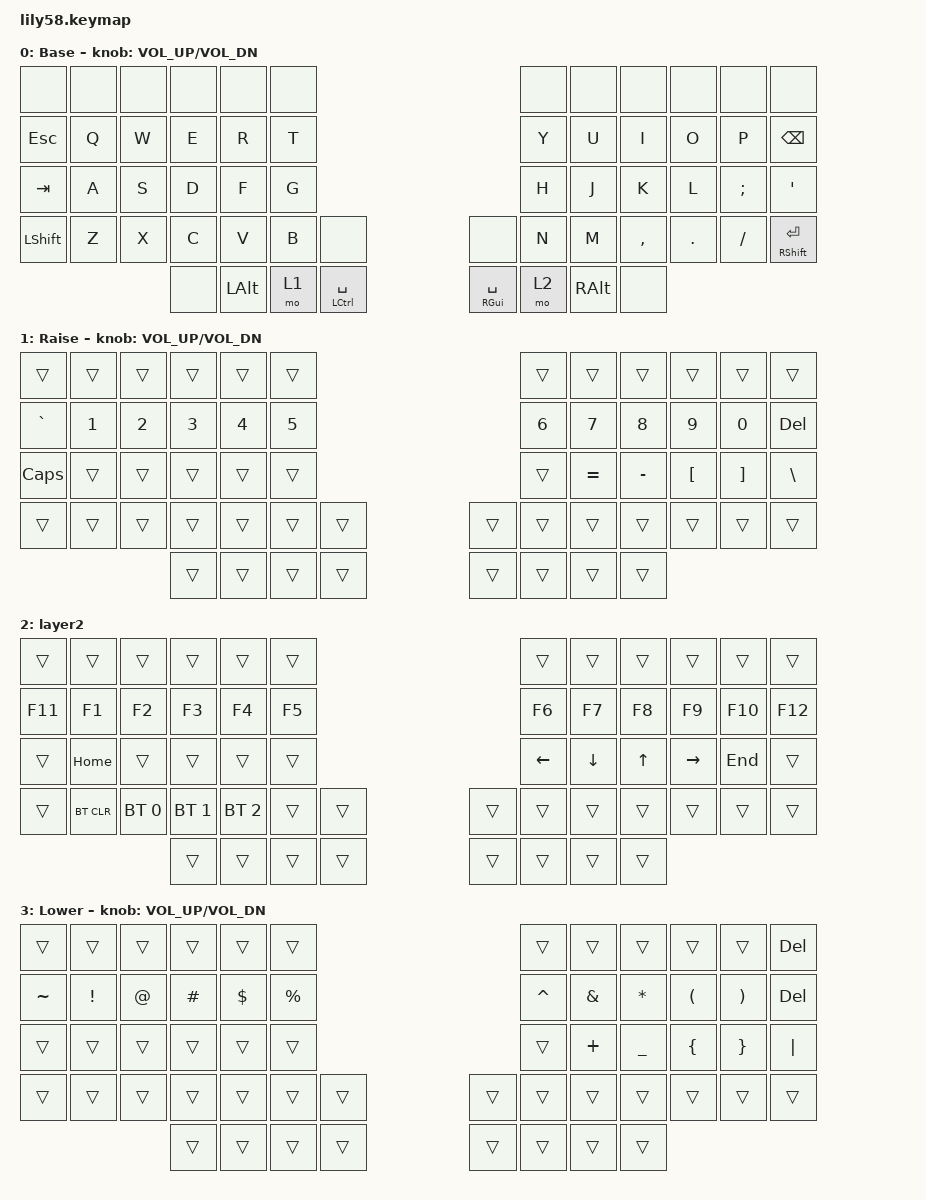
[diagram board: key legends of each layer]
/*
 * Copyright (c) 2020 The ZMK Contributors
 *
 * SPDX-License-Identifier: MIT
 */

#include <behaviors.dtsi>
#include <dt-bindings/zmk/bt.h>
#include <dt-bindings/zmk/keys.h>

/ {
    keymap {
        compatible = "zmk,keymap";

        default_layer {
            // ------------------------------------------------------------------------------------------------------------
            // |  ESC  |  1  |  2  |  3   |  4   |  5   |                   |  6   |  7    |  8    |  9   |   0   |   `   |
            // |  TAB  |  Q  |  W  |  E   |  R   |  T   |                   |  Y   |  U    |  I    |  O   |   P   |   -   |
            // |  CTRL |  A  |  S  |  D   |  F   |  G   |                   |  H   |  J    |  K    |  L   |   ;   |   '   |
            // | SHIFT |  Z  |  X  |  C   |  V   |  B   |   "["  |  |  "]"  |  N   |  M    |  ,    |  .   |   /   | SHIFT |
            //                     | ALT  | GUI  | LOWER|  SPACE |  | ENTER | RAISE| BSPC  | GUI   |

            display-name = "Base";
            bindings = <
&none           &none  &none  &none  &none         &none                                                 &none  &none          &none      &none    &none     &none
&kp ESCAPE      &kp Q  &kp W  &kp E  &kp R         &kp T                                                 &kp Y  &kp U          &kp I      &kp O    &kp P     &kp BACKSPACE
&kp TAB         &kp A  &kp S  &kp D  &kp F         &kp G                                                 &kp H  &kp J          &kp K      &kp L    &kp SEMI  &kp SQT
&kp LEFT_SHIFT  &kp Z  &kp X  &kp C  &kp V         &kp B  &none                     &none                &kp N  &kp M          &kp COMMA  &kp DOT  &kp FSLH  &mt RSHFT ENTER
                              &none  &kp LEFT_ALT  &mo 1  &mt LEFT_CONTROL SPACE    &mt RIGHT_GUI SPACE  &mo 2  &kp RIGHT_ALT  &none
            >;

            sensor-bindings = <&inc_dec_kp C_VOL_UP C_VOL_DN>;
        };

        layer1 {
            // ------------------------------------------------------------------------------------------------------------
            // |       |     |     |      |      |      |                   |      |       |       |      |       |       |
            // |   `   |  1  |  2  |  3   |  4   |  5   |                   |  6   |   7   |   8   |  9   |   0   |       |
            // |   F1  |  F2 |  F3 |  F4  |  F5  |  F6  |                   |      |   <-  |   v   |  ^   |  ->   |       |
            // |   F7  |  F8 |  F9 |  F10 |  F11 |  F12 |        |  |       |  +   |   -   |   =   |  [   |   ]   |   \   |
            //                     |      |      |      |        |  |       |      |       |       |

            display-name = "Raise";
            bindings = <
&trans     &trans  &trans  &trans  &trans  &trans                    &trans  &trans     &trans     &trans            &trans             &trans
&kp GRAVE  &kp N1  &kp N2  &kp N3  &kp N4  &kp N5                    &kp N6  &kp N7     &kp N8     &kp N9            &kp N0             &kp DEL
&kp CAPS   &trans  &trans  &trans  &trans  &trans                    &trans  &kp EQUAL  &kp MINUS  &kp LEFT_BRACKET  &kp RIGHT_BRACKET  &kp BACKSLASH
&trans     &trans  &trans  &trans  &trans  &trans  &trans    &trans  &trans  &trans     &trans     &trans            &trans             &trans
                           &trans  &trans  &trans  &trans    &trans  &trans  &trans     &trans
            >;

            sensor-bindings = <&inc_dec_kp C_VOL_UP C_VOL_DN>;
        };

        layer2 {
            bindings = <
&trans   &trans      &trans        &trans        &trans        &trans                    &trans          &trans          &trans        &trans           &trans   &trans
&kp F11  &kp F1      &kp F2        &kp F3        &kp F4        &kp F5                    &kp F6          &kp F7          &kp F8        &kp F9           &kp F10  &kp F12
&trans   &kp HOME    &trans        &trans        &trans        &trans                    &kp LEFT_ARROW  &kp DOWN_ARROW  &kp UP_ARROW  &kp RIGHT_ARROW  &kp END  &trans
&trans   &bt BT_CLR  &bt BT_SEL 0  &bt BT_SEL 1  &bt BT_SEL 2  &trans  &trans    &trans  &trans          &trans          &trans        &trans           &trans   &trans
                                   &trans        &trans        &trans  &trans    &trans  &trans          &trans          &trans
            >;
        };

        layer3 {
            // ------------------------------------------------------------------------------------------------------------
            // | BTCLR | BT1 | BT2 |  BT3 |  BT4 |  BT5 |                   |      |       |       |      |       |       |
            // |  F1   |  F2 |  F3 |  F4  |  F5  |  F6  |                   |  F7  |  F8   |  F9   |  F10 |  F11  |  F12  |
            // |   `   |  !  |  @  |  #   |  $   |  %   |                   |  ^   |  &    |  *    |  (   |   )   |   ~   |
            // |       |     |     |      |      |      |        |  |       |      |  _    |  +    |  {   |   }   |  "|"  |
            //                     |      |      |      |        |  |       |      |       |       |

            display-name = "Lower";
            bindings = <
&trans     &trans           &trans       &trans    &trans      &trans                         &trans     &trans         &trans          &trans                &trans                 &kp DELETE
&kp TILDE  &kp EXCLAMATION  &kp AT_SIGN  &kp HASH  &kp DOLLAR  &kp PERCENT                    &kp CARET  &kp AMPERSAND  &kp ASTERISK    &kp LEFT_PARENTHESIS  &kp RIGHT_PARENTHESIS  &kp DELETE
&trans     &trans           &trans       &trans    &trans      &trans                         &trans     &kp PLUS       &kp UNDERSCORE  &kp LEFT_BRACE        &kp RIGHT_BRACE        &kp PIPE
&trans     &trans           &trans       &trans    &trans      &trans       &trans    &trans  &trans     &trans         &trans          &trans                &trans                 &trans
                                         &trans    &trans      &trans       &trans    &trans  &trans     &trans         &trans
            >;

            sensor-bindings = <&inc_dec_kp C_VOL_UP C_VOL_DN>;
        };
    };

    conditional_layers {
        compatible = "zmk,conditional-layers";

        shift {
            if-layers = <2 1>;
            then-layer = <3>;
        };
    };
};
